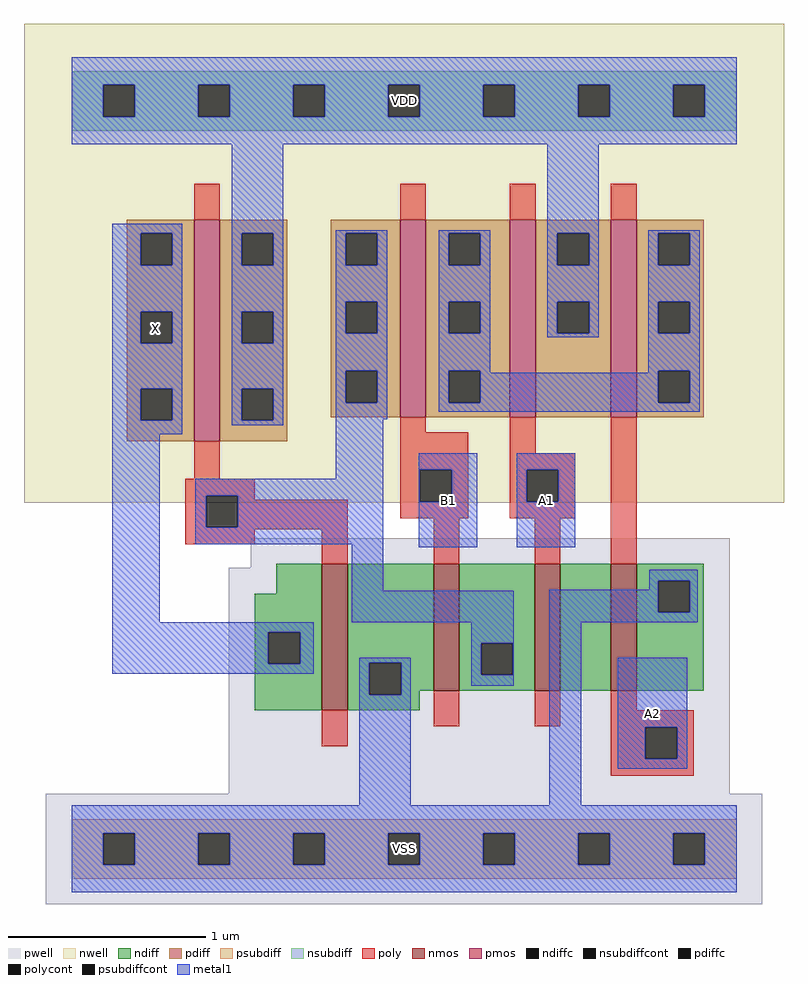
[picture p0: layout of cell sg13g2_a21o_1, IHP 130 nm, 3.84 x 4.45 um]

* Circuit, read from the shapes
.subckt sg13g2_a21o_1 B1 X VDD VSS A1 A2
XM1 VSS n1 X VSS sg13_lv_nmos w=0.74u l=0.13u
XM2 n1 B1 VSS VSS sg13_lv_nmos w=0.64u l=0.13u
XM3 n2 A1 n1 VSS sg13_lv_nmos w=0.64u l=0.13u
XM4 VSS A2 n2 VSS sg13_lv_nmos w=0.64u l=0.13u
XM5 VDD n1 X VDD sg13_lv_pmos w=1.12u l=0.13u
XM6 n3 B1 n1 VDD sg13_lv_pmos w=1u l=0.13u
XM7 VDD A1 n3 VDD sg13_lv_pmos w=1u l=0.13u
XM8 n3 A2 VDD VDD sg13_lv_pmos w=1u l=0.13u
.ends

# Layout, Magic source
magic
tech ihp-sg13g2
magscale 1 2
<< nwell >>
rect -48 350 720 834
<< pwell >>
rect 181 284 665 314
rect 159 56 665 284
rect -26 -56 698 56
<< nmos >>
rect 253 140 279 288
rect 366 160 392 288
rect 468 160 494 288
rect 545 160 571 288
<< pmos >>
rect 124 412 150 636
rect 332 436 358 636
rect 443 436 469 636
rect 545 436 571 636
<< ndiff >>
rect 207 258 253 288
rect 185 219 253 258
rect 185 187 199 219
rect 231 187 253 219
rect 185 140 253 187
rect 279 188 366 288
rect 279 156 301 188
rect 333 160 366 188
rect 392 208 468 288
rect 392 176 414 208
rect 446 176 468 208
rect 392 160 468 176
rect 494 160 545 288
rect 571 271 639 288
rect 571 239 593 271
rect 625 239 639 271
rect 571 160 639 239
rect 333 156 352 160
rect 279 140 352 156
<< pdiff >>
rect 56 622 124 636
rect 56 590 70 622
rect 102 590 124 622
rect 56 543 124 590
rect 56 511 70 543
rect 102 511 124 543
rect 56 465 124 511
rect 56 433 70 465
rect 102 433 124 465
rect 56 412 124 433
rect 150 622 218 636
rect 150 590 172 622
rect 204 590 218 622
rect 150 543 218 590
rect 150 511 172 543
rect 204 511 218 543
rect 150 465 218 511
rect 150 433 172 465
rect 204 433 218 465
rect 262 622 332 636
rect 262 590 277 622
rect 309 590 332 622
rect 262 553 332 590
rect 262 521 277 553
rect 309 521 332 553
rect 262 483 332 521
rect 262 451 277 483
rect 309 451 332 483
rect 262 436 332 451
rect 358 622 443 636
rect 358 590 381 622
rect 413 590 443 622
rect 358 553 443 590
rect 358 521 381 553
rect 413 521 443 553
rect 358 483 443 521
rect 358 451 381 483
rect 413 451 443 483
rect 358 436 443 451
rect 469 622 545 636
rect 469 590 491 622
rect 523 590 545 622
rect 469 553 545 590
rect 469 521 491 553
rect 523 521 545 553
rect 469 436 545 521
rect 571 622 639 636
rect 571 590 593 622
rect 625 590 639 622
rect 571 553 639 590
rect 571 521 593 553
rect 625 521 639 553
rect 571 483 639 521
rect 571 451 593 483
rect 625 451 639 483
rect 571 436 639 451
rect 150 412 218 433
<< ndiffc >>
rect 199 187 231 219
rect 301 156 333 188
rect 414 176 446 208
rect 593 239 625 271
<< pdiffc >>
rect 70 590 102 622
rect 70 511 102 543
rect 70 433 102 465
rect 172 590 204 622
rect 172 511 204 543
rect 172 433 204 465
rect 277 590 309 622
rect 277 521 309 553
rect 277 451 309 483
rect 381 590 413 622
rect 381 521 413 553
rect 381 451 413 483
rect 491 590 523 622
rect 491 521 523 553
rect 593 590 625 622
rect 593 521 625 553
rect 593 451 625 483
<< psubdiff >>
rect 0 16 672 30
rect 0 -16 32 16
rect 64 -16 128 16
rect 160 -16 224 16
rect 256 -16 320 16
rect 352 -16 416 16
rect 448 -16 512 16
rect 544 -16 608 16
rect 640 -16 672 16
rect 0 -30 672 -16
<< nsubdiff >>
rect 0 772 672 786
rect 0 740 32 772
rect 64 740 128 772
rect 160 740 224 772
rect 256 740 320 772
rect 352 740 416 772
rect 448 740 512 772
rect 544 740 608 772
rect 640 740 672 772
rect 0 726 672 740
<< psubdiffcont >>
rect 32 -16 64 16
rect 128 -16 160 16
rect 224 -16 256 16
rect 320 -16 352 16
rect 416 -16 448 16
rect 512 -16 544 16
rect 608 -16 640 16
<< nsubdiffcont >>
rect 32 740 64 772
rect 128 740 160 772
rect 224 740 256 772
rect 320 740 352 772
rect 416 740 448 772
rect 512 740 544 772
rect 608 740 640 772
<< poly >>
rect 124 636 150 672
rect 332 636 358 672
rect 443 636 469 672
rect 545 636 571 672
rect 332 421 358 436
rect 124 374 150 412
rect 332 383 401 421
rect 115 357 185 374
rect 115 325 136 357
rect 168 353 185 357
rect 168 325 279 353
rect 332 351 352 383
rect 384 351 401 383
rect 332 334 401 351
rect 443 400 469 436
rect 443 383 509 400
rect 443 351 460 383
rect 492 351 509 383
rect 443 334 509 351
rect 115 323 279 325
rect 115 308 185 323
rect 253 288 279 323
rect 366 288 392 334
rect 468 288 494 334
rect 545 288 571 436
rect 253 104 279 140
rect 366 124 392 160
rect 468 124 494 160
rect 545 140 571 160
rect 545 123 629 140
rect 545 91 580 123
rect 612 91 629 123
rect 545 74 629 91
<< polycont >>
rect 136 325 168 357
rect 352 351 384 383
rect 460 351 492 383
rect 580 91 612 123
<< metal1 >>
rect 0 772 672 800
rect 0 740 32 772
rect 64 740 128 772
rect 160 740 224 772
rect 256 740 320 772
rect 352 740 416 772
rect 448 740 512 772
rect 544 740 608 772
rect 640 740 672 772
rect 0 712 672 740
rect 41 622 112 632
rect 41 590 70 622
rect 102 590 112 622
rect 41 543 112 590
rect 41 511 70 543
rect 102 511 112 543
rect 41 465 112 511
rect 41 433 70 465
rect 102 433 112 465
rect 41 419 112 433
rect 162 622 214 712
rect 162 590 172 622
rect 204 590 214 622
rect 162 543 214 590
rect 162 511 172 543
rect 204 511 214 543
rect 162 465 214 511
rect 162 433 172 465
rect 204 433 214 465
rect 162 428 214 433
rect 267 622 319 625
rect 267 590 277 622
rect 309 590 319 622
rect 267 553 319 590
rect 267 521 277 553
rect 309 521 319 553
rect 267 483 319 521
rect 267 451 277 483
rect 309 451 319 483
rect 267 434 319 451
rect 371 622 423 625
rect 371 590 381 622
rect 413 590 423 622
rect 371 553 423 590
rect 371 521 381 553
rect 413 521 423 553
rect 371 483 423 521
rect 481 622 533 712
rect 481 590 491 622
rect 523 590 533 622
rect 481 553 533 590
rect 481 521 491 553
rect 523 521 533 553
rect 481 517 533 521
rect 583 622 635 625
rect 583 590 593 622
rect 625 590 635 622
rect 583 553 635 590
rect 583 521 593 553
rect 625 521 635 553
rect 371 451 381 483
rect 413 481 423 483
rect 583 483 635 521
rect 583 481 593 483
rect 413 451 593 481
rect 625 451 635 483
rect 371 442 635 451
rect 41 229 89 419
rect 267 374 315 434
rect 125 357 315 374
rect 125 325 136 357
rect 168 325 315 357
rect 125 308 315 325
rect 283 261 315 308
rect 351 383 410 400
rect 351 351 352 383
rect 384 351 410 383
rect 351 305 410 351
rect 450 383 509 400
rect 450 351 460 383
rect 492 351 509 383
rect 450 305 509 351
rect 584 271 633 282
rect 584 262 593 271
rect 283 229 447 261
rect 41 219 245 229
rect 41 187 199 219
rect 231 187 245 219
rect 404 208 447 229
rect 41 177 245 187
rect 291 188 343 193
rect 291 156 301 188
rect 333 156 343 188
rect 404 176 414 208
rect 446 176 447 208
rect 404 165 447 176
rect 483 239 593 262
rect 625 239 633 271
rect 483 229 633 239
rect 291 44 343 156
rect 483 44 515 229
rect 552 123 622 193
rect 552 91 580 123
rect 612 91 622 123
rect 552 81 622 91
rect 0 16 672 44
rect 0 -16 32 16
rect 64 -16 128 16
rect 160 -16 224 16
rect 256 -16 320 16
rect 352 -16 416 16
rect 448 -16 512 16
rect 544 -16 608 16
rect 640 -16 672 16
rect 0 -44 672 -16
<< labels >>
flabel metal1 s 351 305 410 400 0 FreeSans 400 0 0 0 B1
port 2 nsew
flabel metal1 s 57 419 112 632 0 FreeSans 400 0 0 0 X
port 3 nsew
flabel metal1 s 0 712 672 800 0 FreeSans 400 0 0 0 VDD
port 4 nsew
flabel metal1 s 0 -44 672 44 0 FreeSans 400 0 0 0 VSS
port 5 nsew
flabel metal1 s 450 305 509 400 0 FreeSans 400 0 0 0 A1
port 6 nsew
flabel metal1 s 552 81 622 193 0 FreeSans 400 0 0 0 A2
port 7 nsew
<< properties >>
string FIXED_BBOX 0 0 672 756
string GDS_END 170126
string GDS_FILE 6_final.gds
string GDS_START 164970
<< end >>
